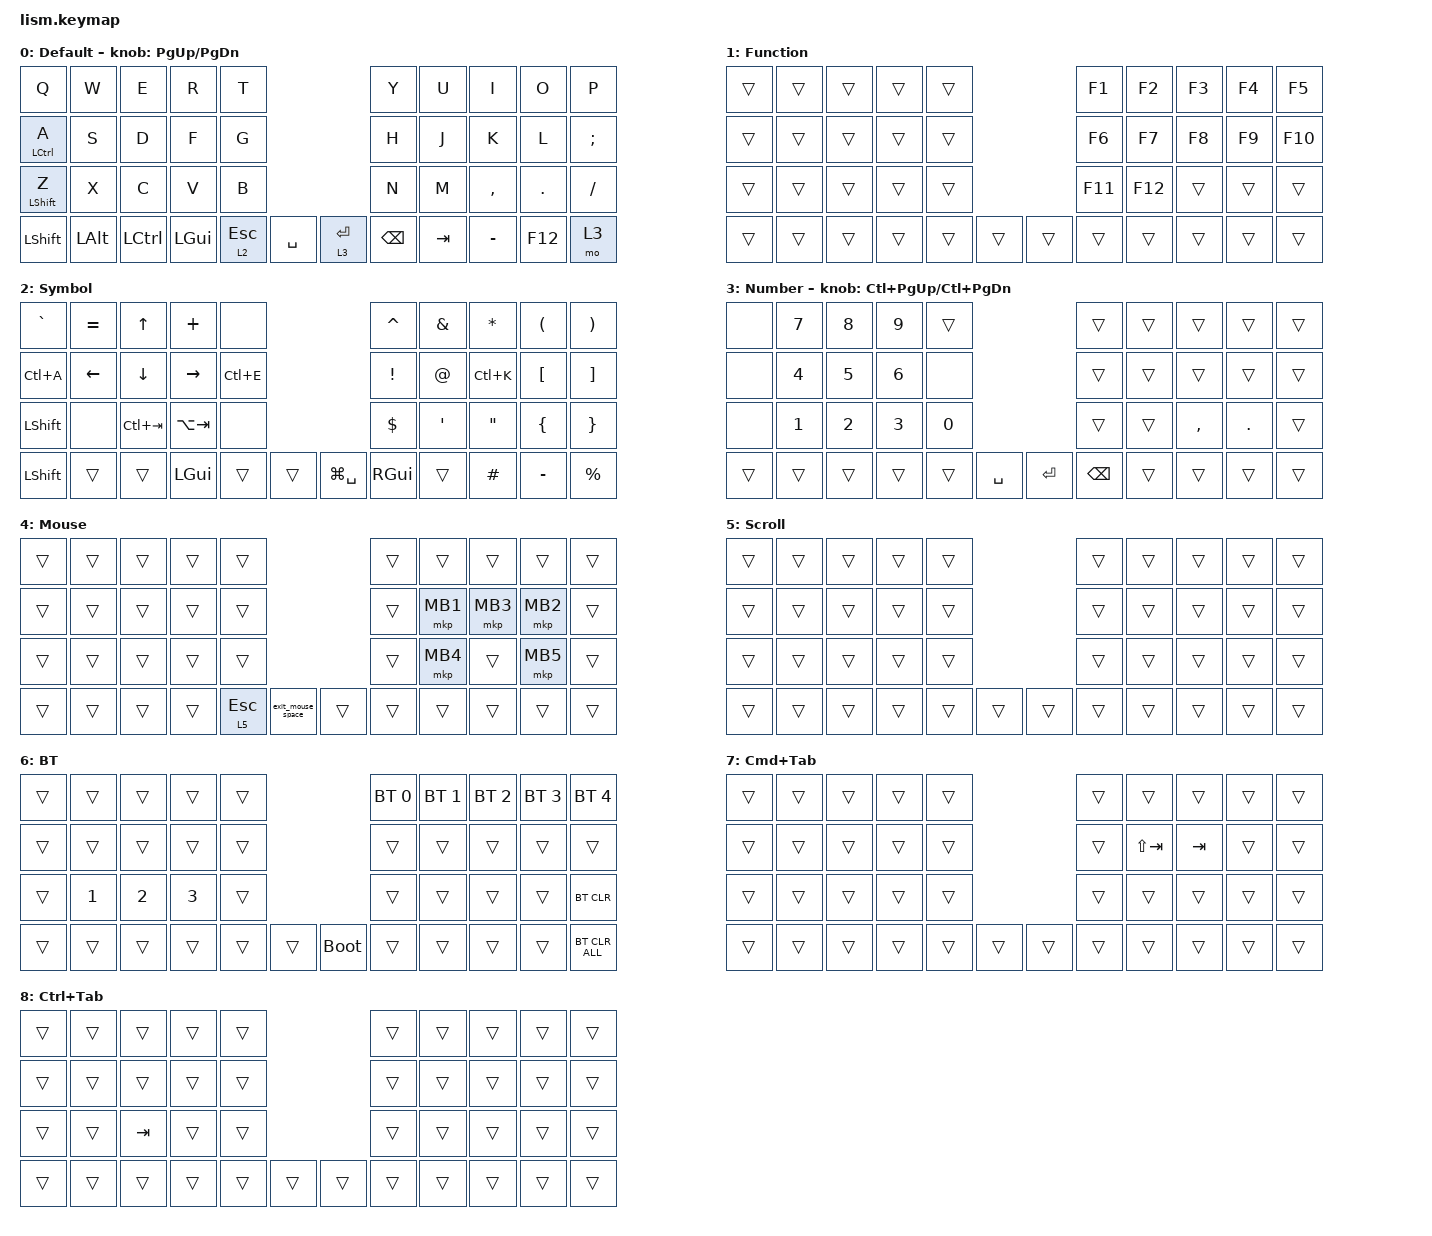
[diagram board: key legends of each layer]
#include <behaviors.dtsi>
#include <dt-bindings/zmk/bt.h>
#include <dt-bindings/zmk/keys.h>
#include <dt-bindings/zmk/pointing.h>

&mt {
    flavor = "balanced";
    quick-tap-ms = <0>;
    tapping-term-ms = <120>;
};

/ {
    combos {
        compatible = "zmk,combos";

        tofunctionLayer {
            bindings = <&mo 1>;
            key-positions = <10 20>;
            timeout-ms = <50>;
            require-prior-idle-ms = <125>;
            slow-release;
            layers = <0>;
        };

        blt_setting {
            bindings = <&mo 6>;
            key-positions = <14 24>;
            timeout-ms = <50>;
            require-prior-idle-ms = <150>;
            slow-release;
            layers = <0>;
        };

        ime_toggle {
            bindings = <&kp LC(SPACE)>;
            key-positions = <10 35>;
            timeout-ms = <300>;
            require-prior-idle-ms = <50>;
            layers = <0>;
        };

        ctrl_e {
            bindings = <&kp LC(E)>;
            key-positions = <10 2>;
            timeout-ms = <50>;
            require-prior-idle-ms = <0>;
            layers = <0>;
        };

        ctrl_f {
            bindings = <&kp LC(F)>;
            key-positions = <10 13>;
            timeout-ms = <50>;
            require-prior-idle-ms = <0>;
            layers = <0>;
        };

        ctrl_g {
            bindings = <&kp LC(G)>;
            key-positions = <10 14>;
            timeout-ms = <50>;
            require-prior-idle-ms = <0>;
            layers = <0>;
        };

        cmd-tab {
            bindings = <&cmd_tab_hold>;
            key-positions = <17 34>;
            timeout-ms = <300>;
            require-prior-idle-ms = <200>;
            layers = <0>;
            slow-release;
        };

        cmd-shift-tab {
            bindings = <&cmd_shift_tab_hold>;
            key-positions = <16 34>;
            timeout-ms = <300>;
            require-prior-idle-ms = <200>;
            layers = <0>;
            slow-release;
        };

        ctrl-tab {
            bindings = <&ctrl_tab_hold>;
            key-positions = <22 34>;
            timeout-ms = <300>;
            require-prior-idle-ms = <200>;
            layers = <0>;
            slow-release;
        };

        tab {
            bindings = <&kp TAB>;
            key-positions = <11 12>;
            layers = <0>;
        };
    };

    macros {
        to_layer_0: to_layer_0 {
            compatible = "zmk,behavior-macro-one-param";
            #binding-cells = <1>;
            bindings = <&to 1 &macro_param_1to1 &kp MACRO_PLACEHOLDER>;
            label = "TO_LAYER_0";
        };

        cmd_tab_hold: cmd_tab_hold {
            compatible = "zmk,behavior-macro";
            #binding-cells = <0>;
            bindings =
                <&macro_press>,
                <&kp LGUI>,
                <&macro_tap>,
                <&kp TAB>,
                <&macro_press>,
                <&mo 7>,
                <&macro_pause_for_release>,
                <&macro_release>,
                <&mo 7>,
                <&macro_release>,
                <&kp LGUI>;
        };

        cmd_shift_tab_hold: cmd_shift_tab_hold {
            compatible = "zmk,behavior-macro";
            #binding-cells = <0>;
            bindings =
                <&macro_press>,
                <&kp LGUI>,
                <&macro_press>,
                <&kp LSHIFT>,
                <&macro_tap>,
                <&kp TAB>,
                <&macro_release>,
                <&kp LSHIFT>,
                <&macro_press>,
                <&mo 7>,
                <&macro_pause_for_release>,
                <&macro_release>,
                <&mo 7>,
                <&macro_release>,
                <&kp LGUI>;
        };

        ctrl_tab_hold: ctrl_tab_hold {
            compatible = "zmk,behavior-macro";
            #binding-cells = <0>;
            bindings =
                <&macro_press>,
                <&kp LCTRL>,
                <&macro_tap>,
                <&kp TAB>,
                <&macro_press>,
                <&mo 8>,
                <&macro_pause_for_release>,
                <&macro_release>,
                <&mo 8>,
                <&macro_release>,
                <&kp LCTRL>;
        };

        exit_mouse_space: exit_mouse_space {
            compatible = "zmk,behavior-macro";
            #binding-cells = <0>;
            bindings = <&kp SPACE>, <&to 0>;
        };
    };

    behaviors {
        lt_to_layer_0: lt_to_layer_0 {
            compatible = "zmk,behavior-hold-tap";
            label = "LAYER_TAP_TO_0";
            bindings = <&mo>, <&to_layer_0>;

            #binding-cells = <2>;
            tapping-term-ms = <200>;
        };

        hrm_a: homerow_mod_a {
            compatible = "zmk,behavior-hold-tap";
            #binding-cells = <2>;
            flavor = "balanced";
            tapping-term-ms = <200>;
            quick-tap-ms = <175>;
            require-prior-idle-ms = <150>;
            bindings = <&kp>, <&kp>;
            hold-trigger-key-positions = <0 1 22 5 6 7 8 9 15 16 17 18 19 25 26 27 28 29>;
            hold-trigger-on-release;
        };

        encoder_kp: sensor_rotate_kp {
            compatible = "zmk,behavior-sensor-rotate-var";
            #sensor-binding-cells = <2>;
            bindings = <&kp>, <&kp>;
        };
    };

    keymap {
        compatible = "zmk,keymap";

        default_layer {
            display-name = "Default";
            bindings = <
&kp Q           &kp W     &kp E      &kp R     &kp T                                &kp Y     &kp U    &kp I      &kp O    &kp P
&hrm_a LCTRL A  &kp S     &kp D      &kp F     &kp G                                &kp H     &kp J    &kp K      &kp L    &kp SEMICOLON
&mt LSHIFT Z    &kp X     &kp C      &kp V     &kp B                                &kp N     &kp M    &kp COMMA  &kp DOT  &kp SLASH
&kp LSHIFT      &kp LALT  &kp LCTRL  &kp LGUI  &lt 2 ESC  &kp SPACE    &lt 3 ENTER  &kp BSPC  &kp TAB  &kp MINUS  &kp F12  &mo 3
            >;

            sensor-bindings = <&encoder_kp PAGE_UP PAGE_DOWN>;
        };

        FUNCTION {
            display-name = "Function";
            bindings = <
&trans  &trans  &trans  &trans  &trans                    &kp F1   &kp F2   &kp F3  &kp F4  &kp F5
&trans  &trans  &trans  &trans  &trans                    &kp F6   &kp F7   &kp F8  &kp F9  &kp F10
&trans  &trans  &trans  &trans  &trans                    &kp F11  &kp F12  &trans  &trans  &trans
&trans  &trans  &trans  &trans  &trans  &trans    &trans  &trans   &trans   &trans  &trans  &trans
            >;
        };

        symbol {
            display-name = "Symbol";
            bindings = <
&kp GRAVE   &kp EQUAL  &kp UP       &kp PLUS     &none                               &kp CARET  &kp AMPERSAND  &kp ASTERISK  &kp LPAR   &kp RPAR
&kp LC(A)   &kp LEFT   &kp DOWN     &kp RIGHT    &kp LC(E)                           &kp EXCL   &kp AT         &kp LC(K)     &kp LBKT   &kp RBKT
&kp LSHIFT  &none      &kp LC(TAB)  &kp LA(TAB)  &none                               &kp DLLR   &kp SQT        &kp DQT       &kp LBRC   &kp RBRC
&kp LSHIFT  &trans     &trans       &kp LGUI     &trans     &trans    &kp LG(SPACE)  &kp RGUI   &trans         &kp HASH      &kp MINUS  &kp PERCENT
            >;
        };

        num {
            display-name = "Number";
            bindings = <
&none   &kp N7  &kp N8  &kp N9  &trans                          &trans    &trans  &trans     &trans   &trans
&none   &kp N4  &kp N5  &kp N6  &none                           &trans    &trans  &trans     &trans   &trans
&none   &kp N1  &kp N2  &kp N3  &kp N0                          &trans    &trans  &kp COMMA  &kp DOT  &trans
&trans  &trans  &trans  &trans  &trans  &kp SPACE    &kp ENTER  &kp BSPC  &trans  &trans     &trans   &trans
            >;

            sensor-bindings = <&encoder_kp LC(PAGE_UP) LC(PAGE_DOWN)>;
        };

        MOUSE {
            display-name = "Mouse";
            bindings = <
&trans  &trans  &trans  &trans  &trans                                  &trans  &trans    &trans    &trans    &trans
&trans  &trans  &trans  &trans  &trans                                  &trans  &mkp MB1  &mkp MB3  &mkp MB2  &trans
&trans  &trans  &trans  &trans  &trans                                  &trans  &mkp MB4  &trans    &mkp MB5  &trans
&trans  &trans  &trans  &trans  &lt 5 ESC  &exit_mouse_space    &trans  &trans  &trans    &trans    &trans    &trans
            >;
        };

        SCROLL {
            display-name = "Scroll";
            bindings = <
&trans  &trans  &trans  &trans  &trans                    &trans  &trans  &trans  &trans  &trans
&trans  &trans  &trans  &trans  &trans                    &trans  &trans  &trans  &trans  &trans
&trans  &trans  &trans  &trans  &trans                    &trans  &trans  &trans  &trans  &trans
&trans  &trans  &trans  &trans  &trans  &trans    &trans  &trans  &trans  &trans  &trans  &trans
            >;
        };

        layer_6 {
            display-name = "BT";
            bindings = <
&trans  &trans  &trans  &trans  &trans                         &bt BT_SEL 0  &bt BT_SEL 1  &bt BT_SEL 2  &bt BT_SEL 3  &bt BT_SEL 4
&trans  &trans  &trans  &trans  &trans                         &trans        &trans        &trans        &trans        &trans
&trans  &kp N1  &kp N2  &kp N3  &trans                         &trans        &trans        &trans        &trans        &bt BT_CLR
&trans  &trans  &trans  &trans  &trans  &trans    &bootloader  &trans        &trans        &trans        &trans        &bt BT_CLR_ALL
            >;
        };

        cmd_tab_layer {
            display-name = "Cmd+Tab";
            bindings = <
&trans  &trans  &trans  &trans  &trans                    &trans  &trans          &trans   &trans  &trans
&trans  &trans  &trans  &trans  &trans                    &trans  &kp LS(TAB)     &kp TAB  &trans  &trans
&trans  &trans  &trans  &trans  &trans                    &trans  &trans          &trans   &trans  &trans
&trans  &trans  &trans  &trans  &trans  &trans    &trans  &trans  &trans          &trans   &trans  &trans
            >;
        };

        ctrl_tab_layer {
            display-name = "Ctrl+Tab";
            bindings = <
&trans  &trans  &trans   &trans  &trans                    &trans  &trans  &trans  &trans  &trans
&trans  &trans  &trans   &trans  &trans                    &trans  &trans  &trans  &trans  &trans
&trans  &trans  &kp TAB  &trans  &trans                    &trans  &trans  &trans  &trans  &trans
&trans  &trans  &trans   &trans  &trans  &trans    &trans  &trans  &trans  &trans  &trans  &trans
            >;
        };
    };
};
